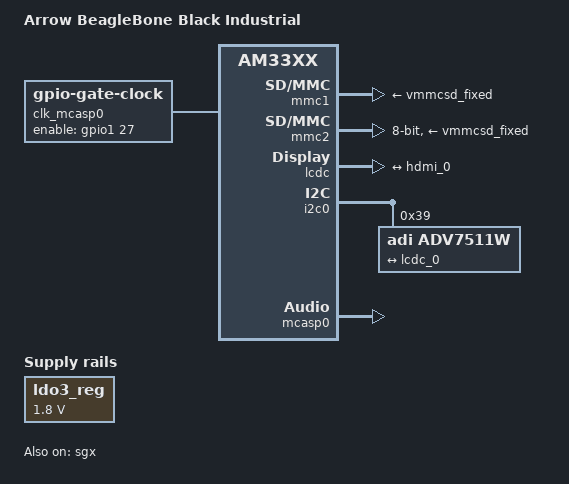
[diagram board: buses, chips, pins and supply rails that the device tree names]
// SPDX-License-Identifier: GPL-2.0-only
/*
 * Copyright (C) 2012 Texas Instruments Incorporated - https://www.ti.com/
 * Copyright 2015 Konsulko Group
 */
/dts-v1/;

#include "am33xx.dtsi"
#include "am335x-bone-common.dtsi"

/ {
	model = "Arrow BeagleBone Black Industrial";
	compatible = "arrow,am335x-abbbi", "ti,am335x-bone", "ti,am33xx";

	chosen {
		base_dtb = "am335x-abbbi.dts";
		base_dtb_timestamp = __TIMESTAMP__;
	};
};

&sgx {
	status = "okay";
};

&ldo3_reg {
	regulator-min-microvolt = <1800000>;
	regulator-max-microvolt = <1800000>;
	regulator-always-on;
};

&mmc1 {
	vmmc-supply = <&vmmcsd_fixed>;
};

&mmc2 {
	vmmc-supply = <&vmmcsd_fixed>;
	pinctrl-names = "default";
	pinctrl-0 = <&emmc_pins>;
	bus-width = <8>;
	status = "okay";
};

&am33xx_pinmux {
	adi_hdmi_bbbi_pins: adi_hdmi_bbbi_pins {
		pinctrl-single,pins = <
			AM33XX_PADCONF(AM335X_PIN_LCD_DATA0, PIN_OUTPUT, MUX_MODE0)
			AM33XX_PADCONF(AM335X_PIN_LCD_DATA1, PIN_OUTPUT, MUX_MODE0)
			AM33XX_PADCONF(AM335X_PIN_LCD_DATA2, PIN_OUTPUT, MUX_MODE0)
			AM33XX_PADCONF(AM335X_PIN_LCD_DATA3, PIN_OUTPUT, MUX_MODE0)
			AM33XX_PADCONF(AM335X_PIN_LCD_DATA4, PIN_OUTPUT, MUX_MODE0)
			AM33XX_PADCONF(AM335X_PIN_LCD_DATA5, PIN_OUTPUT, MUX_MODE0)
			AM33XX_PADCONF(AM335X_PIN_LCD_DATA6, PIN_OUTPUT, MUX_MODE0)
			AM33XX_PADCONF(AM335X_PIN_LCD_DATA7, PIN_OUTPUT, MUX_MODE0)
			AM33XX_PADCONF(AM335X_PIN_LCD_DATA8, PIN_OUTPUT, MUX_MODE0)
			AM33XX_PADCONF(AM335X_PIN_LCD_DATA9, PIN_OUTPUT, MUX_MODE0)
			AM33XX_PADCONF(AM335X_PIN_LCD_DATA10, PIN_OUTPUT, MUX_MODE0)
			AM33XX_PADCONF(AM335X_PIN_LCD_DATA11, PIN_OUTPUT, MUX_MODE0)
			AM33XX_PADCONF(AM335X_PIN_LCD_DATA12, PIN_OUTPUT, MUX_MODE0)
			AM33XX_PADCONF(AM335X_PIN_LCD_DATA13, PIN_OUTPUT, MUX_MODE0)
			AM33XX_PADCONF(AM335X_PIN_LCD_DATA14, PIN_OUTPUT, MUX_MODE0)
			AM33XX_PADCONF(AM335X_PIN_LCD_DATA15, PIN_OUTPUT, MUX_MODE0)
			AM33XX_PADCONF(AM335X_PIN_LCD_VSYNC, PIN_OUTPUT_PULLDOWN, MUX_MODE0)
			AM33XX_PADCONF(AM335X_PIN_LCD_HSYNC, PIN_OUTPUT_PULLDOWN, MUX_MODE0)
			AM33XX_PADCONF(AM335X_PIN_LCD_PCLK, PIN_OUTPUT_PULLDOWN, MUX_MODE0)
			AM33XX_PADCONF(AM335X_PIN_LCD_AC_BIAS_EN, PIN_OUTPUT_PULLDOWN, MUX_MODE0)
		>;
	};

	mcasp0_pins: mcasp0_pins {
		pinctrl-single,pins = <
			AM33XX_PADCONF(AM335X_PIN_MCASP0_AHCLKX, PIN_INPUT_PULLUP, MUX_MODE0) /* mcasp0_ahcklx.mcasp0_ahclkx */
			AM33XX_PADCONF(AM335X_PIN_MCASP0_AHCLKR, PIN_OUTPUT_PULLDOWN, MUX_MODE2) /* mcasp0_ahclkr.mcasp0_axr2*/
			AM33XX_PADCONF(AM335X_PIN_MCASP0_FSX, PIN_OUTPUT_PULLUP, MUX_MODE0)
			AM33XX_PADCONF(AM335X_PIN_MCASP0_ACLKX, PIN_OUTPUT_PULLDOWN, MUX_MODE0)
			AM33XX_PADCONF(AM335X_PIN_GPMC_A11, PIN_OUTPUT_PULLDOWN, MUX_MODE7) /* gpmc_a11.GPIO1_27 */
		>;
	};
};

&lcdc {
	status = "okay";
	port {
		lcdc_0: endpoint@0 {
			remote-endpoint = <&hdmi_0>;
		};
	};
};

&i2c0 {
	adv7511w {
		compatible = "adi,adv7511w";
		reg = <0x39>;

		pinctrl-names = "default";
		pinctrl-0 = <&adi_hdmi_bbbi_pins>;

		port {
			hdmi_0: endpoint@0 {
				remote-endpoint = <&lcdc_0>;
			};
		};
	};
};

&rtc {
	system-power-controller;
};

&mcasp0	{
	pinctrl-names = "default";
	pinctrl-0 = <&mcasp0_pins>;
	status = "okay";
	op-mode = <0>;	/* MCASP_IIS_MODE */
	tdm-slots = <2>;
	serial-dir = <	/* 0: INACTIVE, 1: TX, 2: RX */
			0 0 1 0
		>;
	tx-num-evt = <1>;
	rx-num-evt = <1>;
};

/ {
	clk_mcasp0_fixed: clk_mcasp0_fixed {
		#clock-cells = <0>;
		compatible = "fixed-clock";
		clock-frequency = <24576000>;
	};

	clk_mcasp0: clk_mcasp0 {
		#clock-cells = <0>;
		compatible = "gpio-gate-clock";
		clocks = <&clk_mcasp0_fixed>;
		enable-gpios = <&gpio1 27 0>; /* BeagleBone Black Clk enable on GPIO1_27 */
	};

	hdmi_audio: hdmi_audio@0 {
	       compatible = "linux,hdmi-audio";
	       status = "okay";
	};

	sound {
		compatible = "ti,beaglebone-black-audio";
		ti,model = "TI BeagleBone Black";
		ti,audio-codec = <&hdmi_audio>;
		ti,mcasp-controller = <&mcasp0>;
		ti,audio-routing =
			"HDMI Out",	"TX";
		clocks = <&clk_mcasp0>;
		clock-names = "mclk";
	};
};
